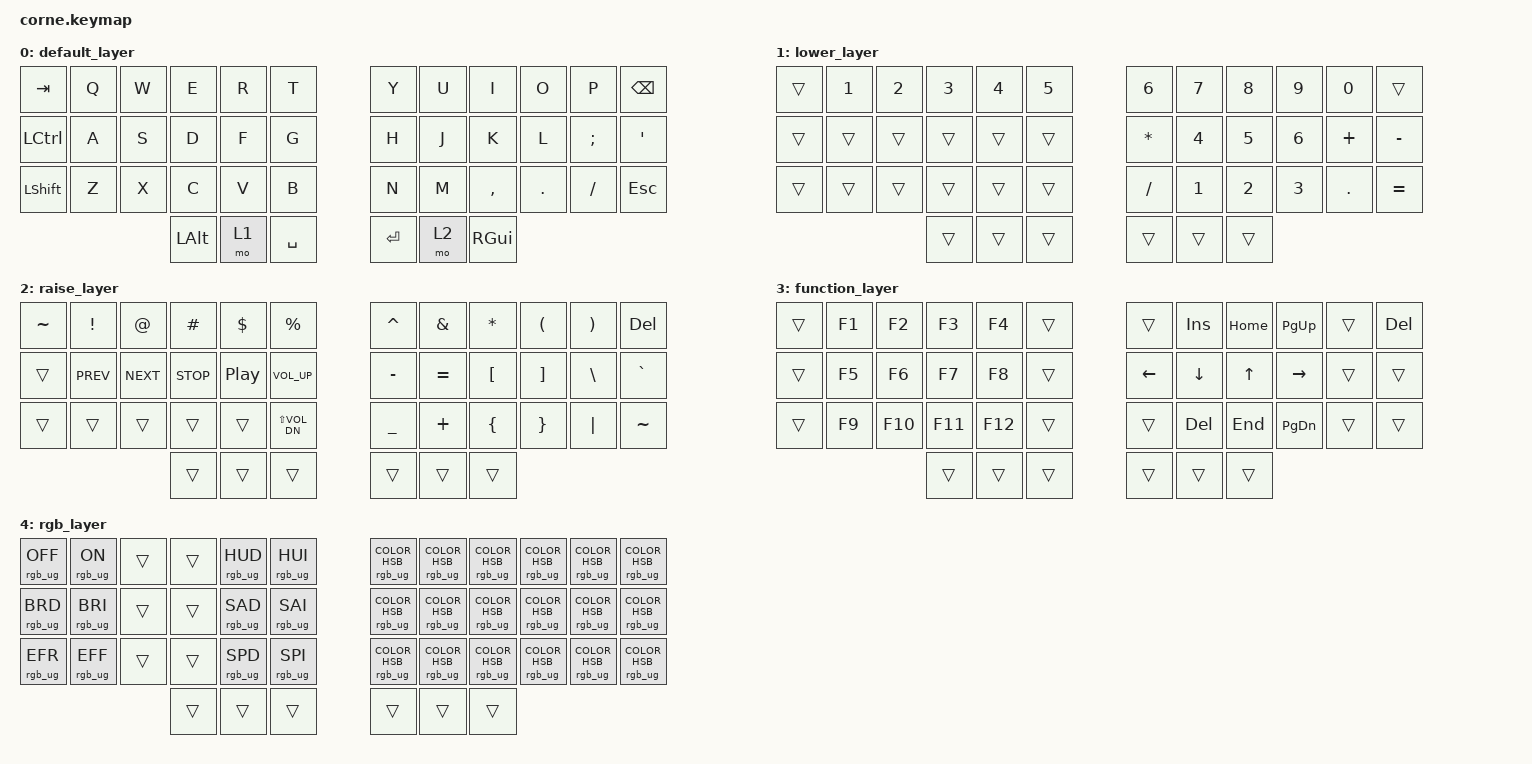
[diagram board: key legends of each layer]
/*
 * Copyright (c) 2020 The ZMK Contributors
 *
 * SPDX-License-Identifier: MIT
 */

#include <behaviors.dtsi>
#include <dt-bindings/zmk/keys.h>
#include <dt-bindings/zmk/rgb.h>

&led_strip { chain-length = <27>; };

/ {
    conditional_layers {
        compatible = "zmk,conditional-layers";

        tri_layer {
            if-layers = <1 2>;
            then-layer = <3>;
        };
    };

    combos {
        compatible = "zmk,combos";

        rgb_layer_combo {
            bindings = <&mo 4>;
            key-positions = <36 41>;
        };
    };

    keymap {
        compatible = "zmk,keymap";

        default_layer {
            bindings = <
&kp TAB     &kp Q  &kp W  &kp E         &kp R  &kp T        &kp Y    &kp U  &kp I          &kp O    &kp P     &kp BSPC
&kp LCTRL   &kp A  &kp S  &kp D         &kp F  &kp G        &kp H    &kp J  &kp K          &kp L    &kp SEMI  &kp SQT
&kp LSHIFT  &kp Z  &kp X  &kp C         &kp V  &kp B        &kp N    &kp M  &kp COMMA      &kp DOT  &kp FSLH  &kp ESC
                          &kp LEFT_ALT  &mo 1  &kp SPACE    &kp RET  &mo 2  &kp RIGHT_GUI
            >;
        };

        lower_layer {
            bindings = <
&trans  &kp N1  &kp N2  &kp N3  &kp N4  &kp N5    &kp N6        &kp N7  &kp N8  &kp N9  &kp N0    &trans
&trans  &trans  &trans  &trans  &trans  &trans    &kp ASTERISK  &kp N4  &kp N5  &kp N6  &kp PLUS  &kp MINUS
&trans  &trans  &trans  &trans  &trans  &trans    &kp FSLH      &kp N1  &kp N2  &kp N3  &kp DOT   &kp EQUAL
                        &trans  &trans  &trans    &trans        &trans  &trans
            >;
        };

        raise_layer {
            bindings = <
&kp TILDE  &kp EXCL    &kp AT      &kp HASH    &kp DLLR          &kp PRCNT           &kp CARET  &kp AMPS   &kp ASTRK  &kp LPAR  &kp RPAR  &kp DEL
&trans     &kp C_PREV  &kp C_NEXT  &kp C_STOP  &kp C_PLAY_PAUSE  &kp C_VOL_UP        &kp MINUS  &kp EQUAL  &kp LBKT   &kp RBKT  &kp BSLH  &kp GRAVE
&trans     &trans      &trans      &trans      &trans            &kp LS(C_VOL_DN)    &kp UNDER  &kp PLUS   &kp LBRC   &kp RBRC  &kp PIPE  &kp TILDE
                                   &trans      &trans            &trans              &trans     &trans     &trans
            >;
        };

        function_layer {
            bindings = <
&trans  &kp F1  &kp F2   &kp F3   &kp F4   &trans    &trans    &kp INSERT  &kp HOME  &kp PAGE_UP    &trans  &kp DEL
&trans  &kp F5  &kp F6   &kp F7   &kp F8   &trans    &kp LEFT  &kp DOWN    &kp UP    &kp RIGHT      &trans  &trans
&trans  &kp F9  &kp F10  &kp F11  &kp F12  &trans    &trans    &kp DEL     &kp END   &kp PAGE_DOWN  &trans  &trans
                         &trans   &trans   &trans    &trans    &trans      &trans
            >;
        };

        rgb_layer {
            bindings = <
&rgb_ug RGB_OFF  &rgb_ug RGB_ON   &trans  &trans  &rgb_ug RGB_HUD  &rgb_ug RGB_HUI    &rgb_ug RGB_COLOR_HSB(0,100,75)   &rgb_ug RGB_COLOR_HSB(65,100,75)  &rgb_ug RGB_COLOR_HSB(120,100,75)  &rgb_ug RGB_COLOR_HSB(180,100,75)  &rgb_ug RGB_COLOR_HSB(240,100,75)  &rgb_ug RGB_COLOR_HSB(302,100,75)
&rgb_ug RGB_BRD  &rgb_ug RGB_BRI  &trans  &trans  &rgb_ug RGB_SAD  &rgb_ug RGB_SAI    &rgb_ug RGB_COLOR_HSB(21,100,50)  &rgb_ug RGB_COLOR_HSB(81,100,50)  &rgb_ug RGB_COLOR_HSB(138,100,50)  &rgb_ug RGB_COLOR_HSB(196,100,50)  &rgb_ug RGB_COLOR_HSB(255,100,50)  &rgb_ug RGB_COLOR_HSB(324,100,50)
&rgb_ug RGB_EFR  &rgb_ug RGB_EFF  &trans  &trans  &rgb_ug RGB_SPD  &rgb_ug RGB_SPI    &rgb_ug RGB_COLOR_HSB(43,100,25)  &rgb_ug RGB_COLOR_HSB(77,100,25)  &rgb_ug RGB_COLOR_HSB(153,100,25)  &rgb_ug RGB_COLOR_HSB(207,100,25)  &rgb_ug RGB_COLOR_HSB(266,100,25)  &rgb_ug RGB_COLOR_HSB(334,100,25)
                                          &trans  &trans           &trans             &trans                            &trans                            &trans
            >;
        };
    };
};
